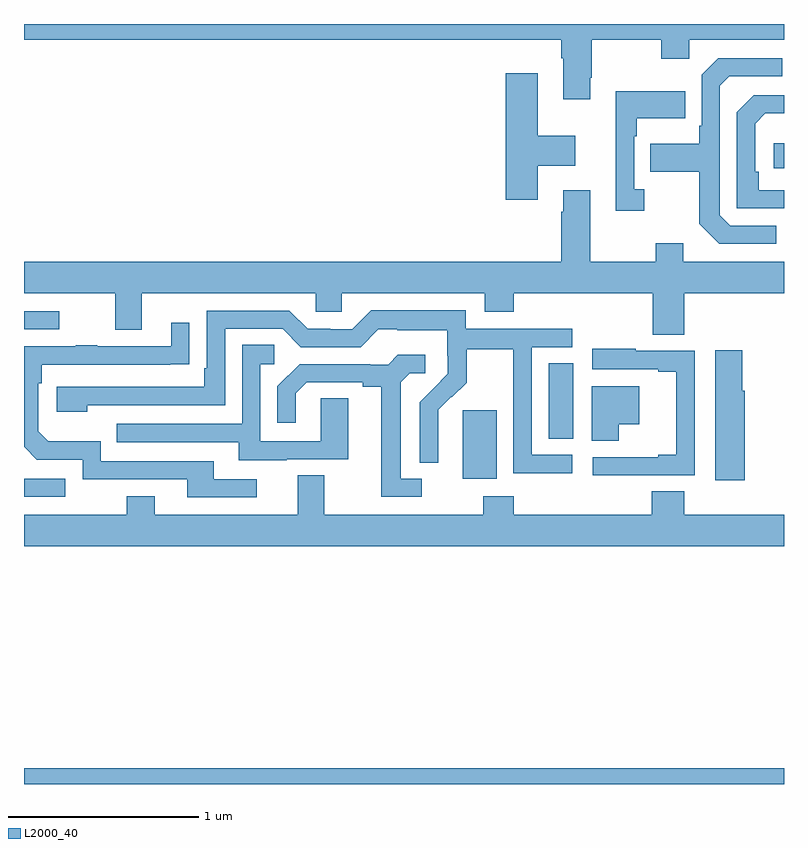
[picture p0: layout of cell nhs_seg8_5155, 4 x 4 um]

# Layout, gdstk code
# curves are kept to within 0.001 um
import gdstk
lib = gdstk.Library(unit=1e-6, precision=1e-09)
def R(c, l, rs):  # rectangles x0, y0, x1, y1
    for r in rs: c.add(gdstk.rectangle(r[:2], r[2:], *l))
def P(c, l, *ps):  # polygons
    for p in ps: c.add(gdstk.Polygon(p, *l))
L2000_40 = (2000, 40)

nhs_seg8_5155 = lib.new_cell('nhs_seg8_5155')
R(nhs_seg8_5155, L2000_40, [(421,1129.9,425,1129.984), (421,1131.411,421.216,1131.507), (423.308,1131.506,423.487,1131.867), (423.761,1131.718,423.892,1132.115), (421,1132.293,421.186,1132.389), (424.947,1133.142,425,1133.272)])
P(nhs_seg8_5155, L2000_40, [(423.979,1133.617),(423.987,1133.617),(423.987,1133.816),(424.354,1133.816),(424.354,1133.717),(424.5,1133.717),(424.5,1133.816),(425,1133.816),(425,1133.9),(421,1133.9),(421,1133.816),(423.827,1133.816),(423.827,1133.72),(423.839,1133.72),(423.839,1133.505),(423.979,1133.505)],
  [(424.96,1132.839),(424.716,1132.839),(424.662,1132.893),(424.662,1133.574),(424.713,1133.625),(424.99,1133.625),(424.99,1133.721),(424.653,1133.721),(424.566,1133.634),(424.566,1133.365),(424.554,1133.365),(424.554,1133.269),(424.297,1133.269),(424.297,1133.122),(424.554,1133.122),(424.554,1132.849),(424.659,1132.743),(424.96,1132.743)],
  [(423.703,1133.153),(423.901,1133.153),(423.901,1133.311),(423.703,1133.311),(423.703,1133.641),(423.536,1133.641),(423.536,1132.974),(423.703,1132.974)],
  [(424.264,1133.03),(424.212,1133.03),(424.212,1133.309),(424.225,1133.309),(424.225,1133.405),(424.481,1133.405),(424.481,1133.545),(424.115,1133.545),(424.115,1132.917),(424.264,1132.917)],
  [(425,1133.025),(424.868,1133.025),(424.868,1133.122),(424.848,1133.122),(424.848,1133.376),(424.901,1133.429),(425,1133.429),(425,1133.526),(424.842,1133.526),(424.752,1133.436),(424.752,1132.929),(425,1132.929)],
  [(424.475,1132.484),(425,1132.484),(425,1132.648),(424.471,1132.648),(424.471,1132.747),(424.324,1132.747),(424.324,1132.648),(423.979,1132.648),(423.979,1133.026),(423.839,1133.026),(423.839,1132.913),(423.827,1132.913),(423.827,1132.648),(421,1132.648),(421,1132.484),(421.481,1132.484),(421.481,1132.29),(421.621,1132.29),(421.621,1132.484),(422.535,1132.484),(422.535,1132.386),(422.673,1132.386),(422.673,1132.484),(423.425,1132.484),(423.425,1132.385),(423.578,1132.385),(423.578,1132.484),(424.309,1132.484),(424.309,1132.264),(424.475,1132.264)],
  [(423.886,1131.633),(423.672,1131.633),(423.672,1132.2),(423.886,1132.2),(423.886,1132.296),(423.324,1132.296),(423.324,1132.393),(422.827,1132.393),(422.727,1132.293),(422.612,1132.293),(422.612,1132.296),(422.493,1132.296),(422.397,1132.392),(421.962,1132.392),(421.962,1132.087),(421.949,1132.087),(421.949,1131.99),(421.173,1131.99),(421.173,1131.86),(421.334,1131.86),(421.334,1131.894),(422.058,1131.894),(422.058,1132.296),(422.361,1132.296),(422.457,1132.2),(422.772,1132.2),(422.865,1132.293),(422.965,1132.293),(422.965,1132.289),(423.228,1132.289),(423.228,1132.155),(423.23,1132.155),(423.23,1132.058),(423.084,1131.91),(423.084,1131.592),(423.18,1131.592),(423.179,1131.869),(423.249,1131.939),(423.252,1131.936),(423.329,1132.013),(423.329,1132.188),(423.574,1132.188),(423.574,1131.964),(423.576,1131.964),(423.576,1131.535),(423.886,1131.535)],
  [(422.224,1131.504),(421.999,1131.504),(421.999,1131.6),(421.404,1131.6),(421.404,1131.703),(421.127,1131.703),(421.074,1131.756),(421.074,1132.01),(421.094,1132.01),(421.094,1132.107),(421.871,1132.108),(421.871,1132.327),(421.775,1132.327),(421.775,1132.203),(421.385,1132.203),(421.385,1132.208),(421.273,1132.208),(421.273,1132.203),(421,1132.203),(421,1131.674),(421.068,1131.606),(421.308,1131.606),(421.308,1131.504),(421.859,1131.504),(421.859,1131.408),(422.224,1131.408)],
  [(422.383,1131.609),(422.707,1131.609),(422.707,1131.929),(422.562,1131.929),(422.562,1131.705),(422.244,1131.705),(422.244,1132.11),(422.317,1132.11),(422.317,1132.211),(422.148,1132.211),(422.148,1131.795),(421.489,1131.795),(421.489,1131.699),(422.129,1131.699),(422.129,1131.605),(422.383,1131.605)],
  [(424.22,1131.525),(424.53,1131.525),(424.53,1132.179),(424.22,1132.179),(424.22,1132.192),(423.99,1132.192),(423.99,1132.083),(424.337,1132.083),(424.337,1132.071),(424.433,1132.071),(424.433,1131.634),(424.337,1131.634),(424.337,1131.621),(423.993,1131.621),(423.993,1131.524),(424.22,1131.524)],
  [(424.793,1131.97),(424.78,1131.97),(424.78,1132.183),(424.637,1132.183),(424.637,1131.498),(424.793,1131.498)],
  [(423.094,1131.507),(422.983,1131.507),(422.983,1132.015),(423.03,1132.062),(423.112,1132.062),(423.112,1132.159),(422.968,1132.159),(422.916,1132.107),(422.822,1132.107),(422.822,1132.11),(422.45,1132.11),(422.334,1131.994),(422.334,1131.801),(422.431,1131.801),(422.431,1131.957),(422.488,1132.014),(422.783,1132.014),(422.783,1131.992),(422.879,1131.992),(422.879,1131.411),(423.094,1131.411)],
  [(424.131,1131.794),(424.237,1131.794),(424.237,1131.994),(423.989,1131.994),(423.989,1131.706),(424.131,1131.706)],
  [(425,1131.316),(424.475,1131.316),(424.475,1131.44),(424.304,1131.44),(424.304,1131.316),(423.578,1131.316),(423.578,1131.415),(423.418,1131.415),(423.418,1131.316),(422.581,1131.316),(422.581,1131.524),(422.441,1131.524),(422.441,1131.316),(421.687,1131.316),(421.687,1131.415),(421.54,1131.415),(421.54,1131.316),(421,1131.316),(421,1131.152),(425,1131.152)])

lib.write_gds('nhs_seg8_5155.gds')
